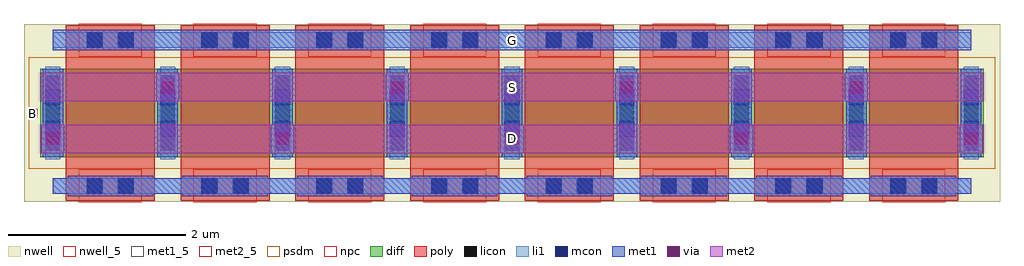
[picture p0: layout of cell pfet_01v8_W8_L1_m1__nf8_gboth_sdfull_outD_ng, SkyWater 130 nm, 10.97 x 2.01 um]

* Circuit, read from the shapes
.subckt pfet_01v8_W8_L1_m1__nf8_gboth_sdfull_outD_ng B D G S
XM1 S G D B sky130_fd_pr__pfet_01v8 w=1 l=1 m=8
.ends

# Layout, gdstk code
import gdstk
lib = gdstk.Library(unit=1e-6, precision=1e-09)
def R(c, l, rs):  # rectangles x0, y0, x1, y1
    for r in rs: c.add(gdstk.rectangle(r[:2], r[2:], *l))
def A(c, l, x, y, w, h, nx, ny, dx, dy):  # array of equal rectangles
    R(c, l, [(x+i*dx, y+j*dy, x+i*dx+w, y+j*dy+h) for i in range(nx) for j in range(ny)])
nwell_5 = (64, 5)
nwell = (64, 20)
diff = (65, 20)
poly = (66, 20)
licon = (66, 44)
li1 = (67, 20)
mcon = (67, 44)
met1_5 = (68, 5)
met1 = (68, 20)
via = (68, 44)
met2_5 = (69, 5)
met2 = (69, 20)
psdm = (94, 20)
npc = (95, 20)

sky130_fd_pr__pfet_01v8_ = lib.new_cell('sky130_fd_pr__pfet_01v8_TN3N2K')
R(sky130_fd_pr__pfet_01v8_, nwell, [(-5.485,-1,5.485,1)])
R(sky130_fd_pr__pfet_01v8_, diff, [(-5.305,-0.5,5.305,0.5)])
A(sky130_fd_pr__pfet_01v8_, poly, -5.015, -0.985, 1, 1.97, 8, 1, 1.29, 0)
A(sky130_fd_pr__pfet_01v8_, licon, -5.245, -0.425, 0.17, 0.17, 9, 3, 1.29, 0.34)
R(sky130_fd_pr__pfet_01v8_, licon, [(-4.77,-0.905,-4.6,-0.735), (-4.43,-0.905,-4.26,-0.735), (-3.48,-0.905,-3.31,-0.735), (-3.14,-0.905,-2.97,-0.735), (-2.19,-0.905,-2.02,-0.735), (-1.85,-0.905,-1.68,-0.735), (-0.9,-0.905,-0.73,-0.735), (-0.56,-0.905,-0.39,-0.735), (0.39,-0.905,0.56,-0.735), (0.73,-0.905,0.9,-0.735), (1.68,-0.905,1.85,-0.735), (2.02,-0.905,2.19,-0.735), (2.97,-0.905,3.14,-0.735), (3.31,-0.905,3.48,-0.735), (4.26,-0.905,4.43,-0.735), (4.6,-0.905,4.77,-0.735), (-4.77,0.735,-4.6,0.905), (-4.43,0.735,-4.26,0.905), (-3.48,0.735,-3.31,0.905), (-3.14,0.735,-2.97,0.905), (-2.19,0.735,-2.02,0.905), (-1.85,0.735,-1.68,0.905), (-0.9,0.735,-0.73,0.905), (-0.56,0.735,-0.39,0.905), (0.39,0.735,0.56,0.905), (0.73,0.735,0.9,0.905), (1.68,0.735,1.85,0.905), (2.02,0.735,2.19,0.905), (2.97,0.735,3.14,0.905), (3.31,0.735,3.48,0.905), (4.26,0.735,4.43,0.905), (4.6,0.735,4.77,0.905)])
A(sky130_fd_pr__pfet_01v8_, li1, -5.245, -0.52, 0.17, 1.04, 9, 1, 1.29, 0)
R(sky130_fd_pr__pfet_01v8_, li1, [(-5.16,-0.905,5.16,-0.735), (-5.16,0.735,5.16,0.905)])
A(sky130_fd_pr__pfet_01v8_, mcon, -5.245, -0.265, 0.17, 0.17, 9, 2, 1.29, 0.36)
R(sky130_fd_pr__pfet_01v8_, mcon, [(-4.78,-0.905,-4.61,-0.735), (-4.42,-0.905,-4.25,-0.735), (-3.49,-0.905,-3.32,-0.735), (-3.13,-0.905,-2.96,-0.735), (-2.2,-0.905,-2.03,-0.735), (-1.84,-0.905,-1.67,-0.735), (-0.91,-0.905,-0.74,-0.735), (-0.55,-0.905,-0.38,-0.735), (0.38,-0.905,0.55,-0.735), (0.74,-0.905,0.91,-0.735), (1.67,-0.905,1.84,-0.735), (2.03,-0.905,2.2,-0.735), (2.96,-0.905,3.13,-0.735), (3.32,-0.905,3.49,-0.735), (4.25,-0.905,4.42,-0.735), (4.61,-0.905,4.78,-0.735), (-4.78,0.735,-4.61,0.905), (-4.42,0.735,-4.25,0.905), (-3.49,0.735,-3.32,0.905), (-3.13,0.735,-2.96,0.905), (-2.2,0.735,-2.03,0.905), (-1.84,0.735,-1.67,0.905), (-0.91,0.735,-0.74,0.905), (-0.55,0.735,-0.38,0.905), (0.38,0.735,0.55,0.905), (0.74,0.735,0.91,0.905), (1.67,0.735,1.84,0.905), (2.03,0.735,2.2,0.905), (2.96,0.735,3.13,0.905), (3.32,0.735,3.49,0.905), (4.25,0.735,4.42,0.905), (4.61,0.735,4.78,0.905)])
A(sky130_fd_pr__pfet_01v8_, met1, -4.995, -0.935, 0.96, 0.03, 8, 2, 1.29, 0.2)
A(sky130_fd_pr__pfet_01v8_, met1, -5.275, -0.5, 0.23, 1, 9, 1, 1.29, 0)
A(sky130_fd_pr__pfet_01v8_, met1, -4.995, 0.705, 0.96, 0.03, 8, 2, 1.29, 0.2)
R(sky130_fd_pr__pfet_01v8_, met1, [(-5.16,-0.905,5.16,-0.735), (-5.16,0.735,5.16,0.905)])
R(sky130_fd_pr__pfet_01v8_, psdm, [(-5.43,-0.625,5.43,0.625)])
A(sky130_fd_pr__pfet_01v8_, npc, -4.87, -1.005, 0.71, 0.37, 8, 2, 1.29, 1.64)
sky130_fd_pr__pfet_01v8_.add(gdstk.Label('D0', (-5.16,0), layer=67, texttype=5))
sky130_fd_pr__pfet_01v8_.add(gdstk.Label('G', (4.515,0.82), layer=67, texttype=5))
sky130_fd_pr__pfet_01v8_.add(gdstk.Label('G', (3.225,0.82), layer=67, texttype=5))
sky130_fd_pr__pfet_01v8_.add(gdstk.Label('G', (1.935,0.82), layer=67, texttype=5))
sky130_fd_pr__pfet_01v8_.add(gdstk.Label('G', (0.645,0.82), layer=67, texttype=5))
sky130_fd_pr__pfet_01v8_.add(gdstk.Label('G', (-0.645,0.82), layer=67, texttype=5))
sky130_fd_pr__pfet_01v8_.add(gdstk.Label('G', (-1.935,0.82), layer=67, texttype=5))
sky130_fd_pr__pfet_01v8_.add(gdstk.Label('G', (-3.225,0.82), layer=67, texttype=5))
sky130_fd_pr__pfet_01v8_.add(gdstk.Label('G', (-4.515,0.82), layer=67, texttype=5))
sky130_fd_pr__pfet_01v8_.add(gdstk.Label('S1', (-3.87,0), layer=67, texttype=5))
sky130_fd_pr__pfet_01v8_.add(gdstk.Label('D2', (-2.58,0), layer=67, texttype=5))
sky130_fd_pr__pfet_01v8_.add(gdstk.Label('S3', (-1.29,0), layer=67, texttype=5))
sky130_fd_pr__pfet_01v8_.add(gdstk.Label('D4', (0,0), layer=67, texttype=5))
sky130_fd_pr__pfet_01v8_.add(gdstk.Label('S5', (1.29,0), layer=67, texttype=5))
sky130_fd_pr__pfet_01v8_.add(gdstk.Label('D6', (2.58,0), layer=67, texttype=5))
sky130_fd_pr__pfet_01v8_.add(gdstk.Label('S7', (3.87,0), layer=67, texttype=5))

pfet_01v8_w8_l1_m1__nf8_ = lib.new_cell('pfet_01v8_W8_L1_m1__nf8_gboth_sdfull_outD_ng')
R(pfet_01v8_w8_l1_m1__nf8_, nwell_5, [(0.05,0.95,0.15,1.05)])
R(pfet_01v8_w8_l1_m1__nf8_, nwell, [(0.05,0.95,0.15,1.05)])
R(pfet_01v8_w8_l1_m1__nf8_, met1_5, [(0.325,1.705,10.645,1.935)])
A(pfet_01v8_w8_l1_m1__nf8_, met1, 0.195, 0.55, 0.26, 0.32, 5, 1, 2.58, 0)
A(pfet_01v8_w8_l1_m1__nf8_, met1, 1.485, 1.13, 0.26, 0.32, 4, 1, 2.58, 0)
R(pfet_01v8_w8_l1_m1__nf8_, met1, [(0.325,1.705,10.645,1.935)])
A(pfet_01v8_w8_l1_m1__nf8_, via, 0.25, 0.635, 0.15, 0.15, 5, 1, 2.58, 0)
A(pfet_01v8_w8_l1_m1__nf8_, via, 1.54, 1.215, 0.15, 0.15, 4, 1, 2.58, 0)
R(pfet_01v8_w8_l1_m1__nf8_, met2_5, [(0.19,0.55,10.78,0.87), (0.19,1.13,10.78,1.45)])
R(pfet_01v8_w8_l1_m1__nf8_, met2, [(0.19,0.55,10.78,0.87), (0.19,1.13,10.78,1.45)])
pfet_01v8_w8_l1_m1__nf8_.add(gdstk.Reference(sky130_fd_pr__pfet_01v8_, (5.485,1)))
pfet_01v8_w8_l1_m1__nf8_.add(gdstk.Label('S', (5.485,1.29), layer=69, texttype=5))
pfet_01v8_w8_l1_m1__nf8_.add(gdstk.Label('D', (5.485,0.71), layer=69, texttype=5))
pfet_01v8_w8_l1_m1__nf8_.add(gdstk.Label('G', (5.485,1.82), layer=68, texttype=5))
pfet_01v8_w8_l1_m1__nf8_.add(gdstk.Label('B', (0.1,1), layer=64, texttype=5))

lib.write_gds('pfet_01v8_W8_L1_m1__nf8_gboth_sdfull_outD_ng.gds')
